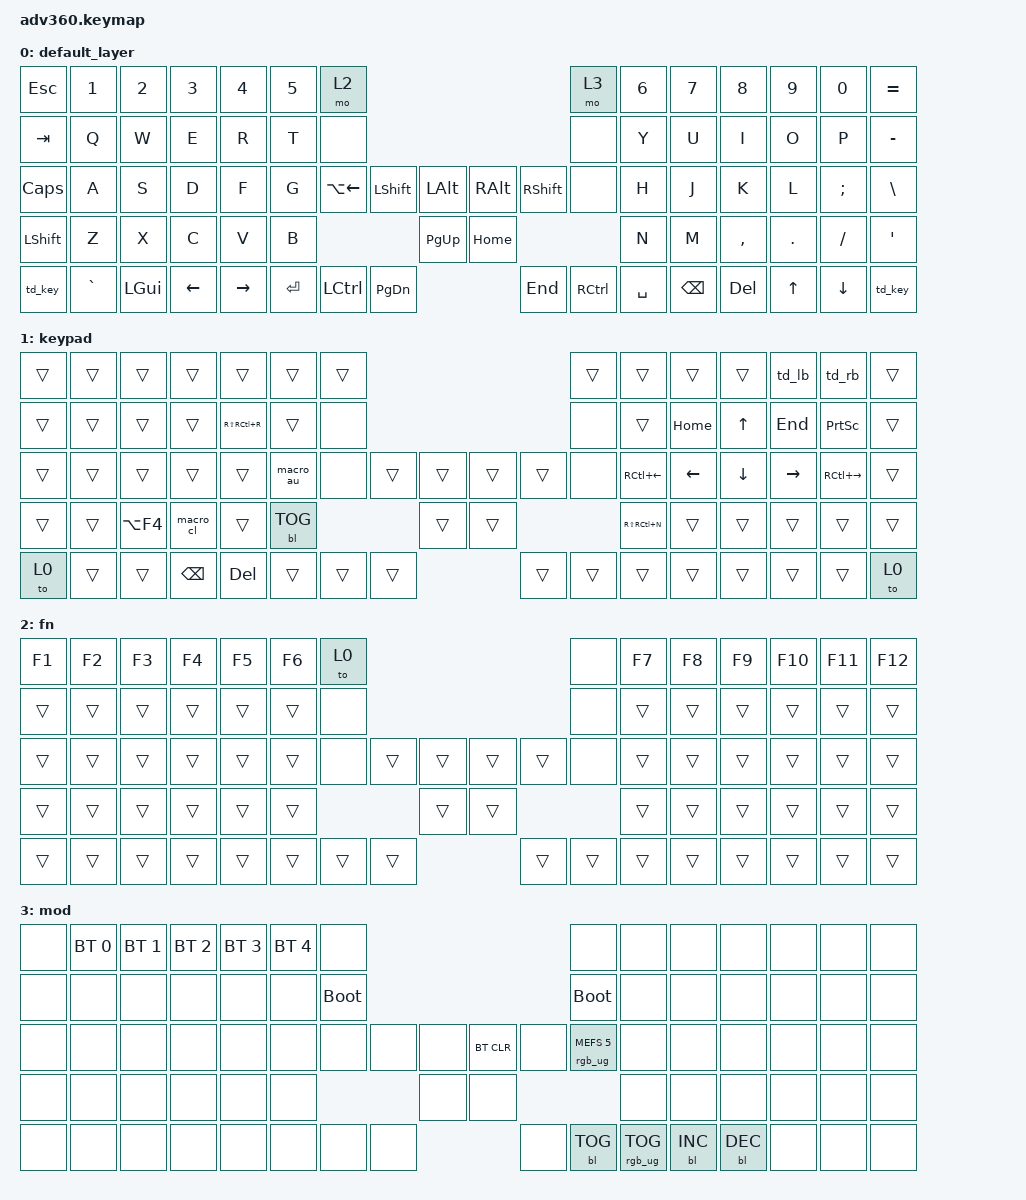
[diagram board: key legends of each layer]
#include <behaviors.dtsi>
#include <dt-bindings/zmk/keys.h>
#include <dt-bindings/zmk/bt.h>
#include <dt-bindings/zmk/rgb.h>
#include <dt-bindings/zmk/backlight.h>

/ {
    behaviors {
      #include "macros.dtsi"

      hm: homerow_mods {
          compatible = "zmk,behavior-hold-tap";
          label = "HOMEROW_MODS";
          #binding-cells = <2>;
          tapping-term-ms = <200>;
          quick_tap_ms = <175>;
          flavor = "tap-preferred";
          bindings = <&kp>, <&kp>;
      };
    };

  keymap {
    compatible = "zmk,keymap";

    default_layer {
      bindings = <
        &kp ESC   &kp N1    &kp N2   &kp N3   &kp N4     &kp N5 &mo 2                                                            &mo 3 &kp N6 &kp N7   &kp N8    &kp N9   &kp N0   &kp EQUAL
        &kp TAB   &kp Q     &kp W    &kp E    &kp R      &kp T  &none                                                            &none &kp Y  &kp U    &kp I     &kp O    &kp P    &kp MINUS
        &kp CAPS  &kp A     &kp S    &kp D    &kp F      &kp G  &kp LA(LEFT)    &kp LSHFT &kp LALT  &kp RALT &kp RSHFT           &none &kp H  &kp J    &kp K     &kp L    &kp SEMI &kp BSLH
        &kp LSHFT &kp Z     &kp X    &kp C    &kp V      &kp B                            &kp PG_UP &kp HOME                           &kp N  &kp M    &kp COMMA &kp DOT  &kp FSLH &kp SQT
        &td_key   &kp GRAVE &kp LGUI &kp LEFT &kp RIGHT               &kp ENTER &kp LCTRL &kp PG_DN &kp END  &kp RCTRL &kp SPACE              &kp BSPC &kp DEL   &kp UP &kp DOWN  &td_key
      >;
    };
    keypad {
      bindings = <
        &trans &trans &trans     &trans    &trans        &trans    &trans                                               &trans &trans        &trans   &trans   &td_lb    &td_rb        &trans
        &trans &trans &trans     &trans    &kp RS(RC(R)) &trans    &none                                                &none  &trans        &kp HOME &kp UP   &kp END   &kp PSCRN     &trans
        &trans &trans &trans     &trans    &trans        &macro_au &none             &trans &trans &trans &trans        &none  &kp RC(LEFT)  &kp LEFT &kp DOWN &kp RIGHT &kp RC(RIGHT) &trans
        &trans &trans &kp LA(F4) &macro_cl &trans        &bl BL_TOG                         &trans &trans                      &kp RS(RC(N)) &trans   &trans   &trans    &trans        &trans
        &to 0  &trans &trans     &kp BSPC  &kp DEL                            &trans &trans &trans &trans &trans &trans                      &trans   &trans   &trans    &trans        &to 0
      >;
    };
    fn {
      bindings = <
        &kp F1 &kp F2 &kp F3 &kp F4 &kp F5 &kp F6 &to 0                                           &none &kp F7 &kp F8 &kp F9 &kp F10 &kp F11 &kp F12
        &trans &trans &trans &trans &trans &trans &none                                           &none &trans &trans &trans &trans  &trans  &trans
        &trans &trans &trans &trans &trans &trans &none        &trans &trans &trans &trans        &none &trans &trans &trans &trans  &trans  &trans
        &trans &trans &trans &trans &trans &trans                     &trans &trans                     &trans &trans &trans &trans  &trans  &trans
        &trans &trans &trans &trans &trans              &trans &trans &trans &trans &trans &trans              &trans &trans &trans  &trans  &trans
      >;
    };
    mod {
      bindings = <
        &none &bt BT_SEL 0 &bt BT_SEL 1 &bt BT_SEL 2 &bt BT_SEL 3 &bt BT_SEL 4 &none                                                               &none                  &none &none      &none      &none &none &none
        &none &none        &none        &none        &none        &none        &bootloader                                                         &bootloader            &none &none      &none      &none &none &none
        &none &none        &none        &none        &none        &none        &none             &none &none &bt BT_CLR &none                      &rgb_ug RGB_MEFS_CMD 5 &none &none      &none      &none &none &none
        &none &none        &none        &none        &none        &none                                &none &none                                                        &none &none      &none      &none &none &none
        &none &none        &none        &none        &none                                 &none &none &none &none      &bl BL_TOG &rgb_ug RGB_TOG                              &bl BL_INC &bl BL_DEC &none &none &none
      >;
    };
  };
};
